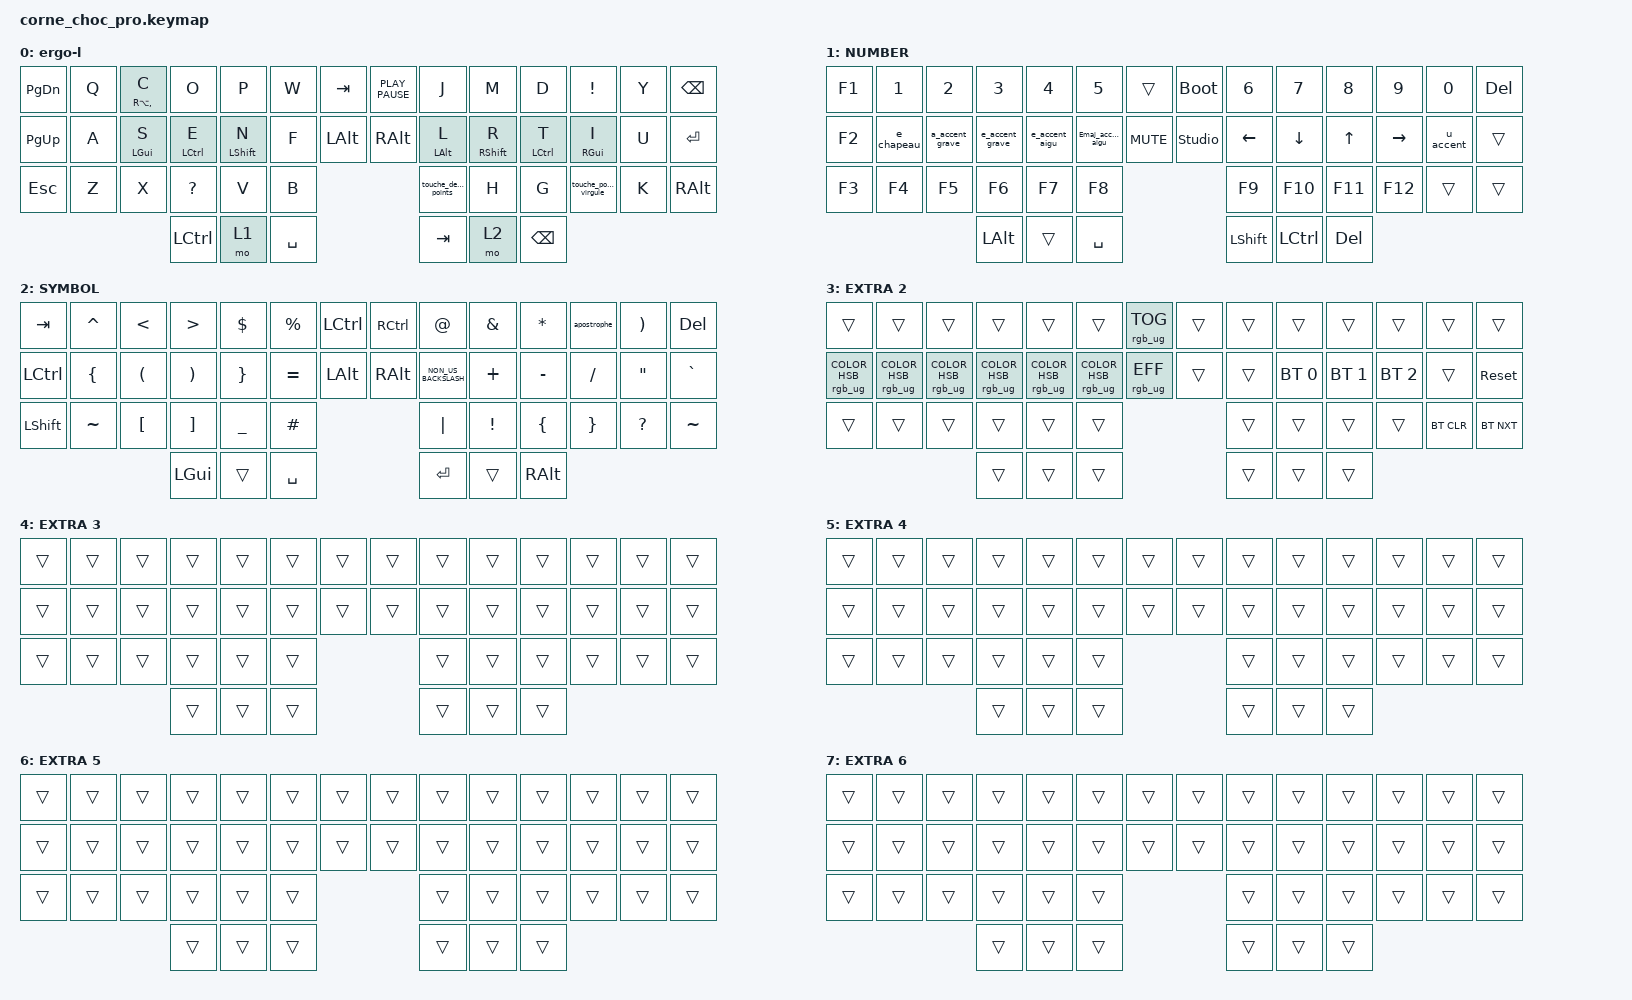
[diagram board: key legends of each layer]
/*
 * Copyright (c) 2020 The ZMK Contributors
 *
 * SPDX-License-Identifier: MIT
 */

#include <behaviors.dtsi>
#include <dt-bindings/zmk/bt.h>
#include <dt-bindings/zmk/keys.h>
#include <dt-bindings/zmk/rgb.h>
#include "keys_fr.h"

/ {
    chosen { zmk,physical-layout = &default_layout; };
};

/ {
    behaviors {
        touche_question: touche_question {
            compatible = "zmk,behavior-mod-morph";
            label = "TOUCHE_QUESTION";
            bindings = <&kp KP_MINUS>, <&kp QUESTION>;

            #binding-cells = <0>;
            mods = <(MOD_LSFT|MOD_RSFT)>;
        };

        touche_deux_points: touche_deux_points {
            compatible = "zmk,behavior-mod-morph";
            label = "TOUCHE_DEUX_POINTS";
            bindings = <&kp DOT>, <&kp COLON>;

            #binding-cells = <0>;
            mods = <(MOD_LSFT|MOD_RSFT)>;
        };

        touche_point_virgule: touche_point_virgule {
            compatible = "zmk,behavior-mod-morph";
            label = "TOUCHE_POINT_VIRGULE";
            bindings = <&kp COMMA>, <&kp SEMICOLON>;

            #binding-cells = <0>;
            mods = <(MOD_LSFT|MOD_RSFT)>;
        };

        c_cedille: c_cedille {
            compatible = "zmk,behavior-hold-tap";
            label = "C_CEDILLE";
            bindings = <&kp>, <&kp>;

            #binding-cells = <2>;
            tapping-term-ms = <230>;
            flavor = "tap-preferred";
        };

        HMShiftR: HMShiftR {
            compatible = "zmk,behavior-hold-tap";
            label = "HMSHIFTR";
            bindings = <&kp>, <&kp>;

            #binding-cells = <2>;
            tapping-term-ms = <225>;
            hold-trigger-key-positions = <0 15 16 17 18 19 29 30 31 32 33 40 41 5 6 19 20 33 41 42 0 1 2 3 4 14 15 16 17 18 28 29 30 31 32>;
            hold-trigger-on-release;
        };

        HML: HML {
            compatible = "zmk,behavior-hold-tap";
            label = "HML";
            bindings = <&kp>, <&kp>;

            #binding-cells = <2>;
            tapping-term-ms = <400>;
            hold-trigger-on-release;
            hold-trigger-key-positions = <13 27 26 24 23 22 21 34 35 36 37 38 39 25 11 12 10 9 8 7 43 44 45>;
            flavor = "tap-preferred";
        };

        defile_fenetre_bas: defile_fenetre_bas {
            compatible = "zmk,behavior-hold-tap";
            label = "DEFILE_FENETRE_BAS";
            bindings = <&kp>, <&defile_bas>;

            #binding-cells = <2>;
            tapping-term-ms = <350>;
            hold-while-undecided;
            retro-tap;
            hold-trigger-key-positions = <0 1 5 6 7 8 12 13 14 15 16 17 18 19 20 21 22 23 24 25 26 27 28 29 30 31 32 33 34 35 36 37 38 39 11 10 9 4 3 2>;
            hold-trigger-on-release;
        };

        defile_fenetre_haut: defile_fenetre_haut {
            compatible = "zmk,behavior-hold-tap";
            label = "DEFILE_FENETRE_HAUT";
            bindings = <&mo>, <&defile_haut>;

            #binding-cells = <2>;
            tapping-term-ms = <350>;
            hold-while-undecided;
            retro-tap;
            hold-trigger-key-positions = <0 1 5 6 7 8 12 13 14 15 16 17 18 19 20 21 22 23 24 25 26 27 28 29 30 31 32 33 34 35 36 37 38 39 11 10 9 4 3 2>;
            hold-trigger-on-release;
        };

        HMR: HMR {
            compatible = "zmk,behavior-hold-tap";
            label = "HMR";
            bindings = <&kp>, <&kp>;

            #binding-cells = <2>;
            tapping-term-ms = <400>;
            hold-trigger-key-positions = <0 15 16 17 18 19 29 30 31 32 33 40 41 5 6 19 20 33 41 42 0 1 2 3 4 14 15 16 17 18 28 29 30 31 32>;
            hold-trigger-on-release;
            flavor = "tap-preferred";
        };

        HMShiftL: HMShiftL {
            compatible = "zmk,behavior-hold-tap";
            label = "HMSHIFTL";
            bindings = <&kp>, <&kp>;

            #binding-cells = <2>;
            tapping-term-ms = <225>;
            hold-trigger-on-release;
            hold-trigger-key-positions = <7 8 9 10 11 12 13 21 22 23 24 25 26 27 34 35 36 37 38 39 43 44 45>;
        };

        e_aigu_maj: e_aigu_maj {
            compatible = "zmk,behavior-mod-morph";
            label = "E_AIGU_MAJ";
            bindings = <&e_accent_aigu>, <&Emaj_accent_aigu>;

            #binding-cells = <0>;
            mods = <(MOD_LSFT|MOD_RSFT)>;
        };
    };

    macros {
        defile_bas: defile_bas {
            compatible = "zmk,behavior-macro";
            #binding-cells = <0>;
            bindings = <&kp LEFT_GUI &kp DOWN_ARROW>;
            label = "DEFILE_BAS";
        };

        defile_haut: defile_haut {
            compatible = "zmk,behavior-macro";
            #binding-cells = <0>;
            bindings = <&kp LEFT_GUI &kp DOWN_ARROW>;
            label = "DEFILE_HAUT";
        };

        e_accent_aigu: e_accent_aigu {
            compatible = "zmk,behavior-macro";
            #binding-cells = <0>;
            bindings =
                <&macro_wait_time 15>,
                <&macro_tap_time 15>,
                <&macro_press>,
                <&kp LCTRL &kp LEFT_SHIFT>,
                <&macro_tap>,
                <&kp U>,
                <&macro_release>,
                <&kp LCTRL &kp LSHFT>,
                <&macro_tap>,
                <&kp E &kp N9 &kp SPACE>;

            label = "E_ACCENT_AIGU";
        };

        e_accent_grave: e_accent_grave {
            compatible = "zmk,behavior-macro";
            #binding-cells = <0>;
            bindings =
                <&macro_wait_time 15>,
                <&macro_tap_time 15>,
                <&macro_press>,
                <&kp LCTRL &kp LEFT_SHIFT>,
                <&macro_tap>,
                <&kp U>,
                <&macro_release>,
                <&kp LCTRL &kp LSHFT>,
                <&macro_tap>,
                <&kp E &kp N8 &kp SPACE>;

            label = "E_ACCENT_GRAVE";
        };

        a_accent_grave: a_accent_grave {
            compatible = "zmk,behavior-macro";
            #binding-cells = <0>;
            bindings =
                <&macro_wait_time 0>,
                <&macro_tap_time 0>,
                <&macro_press>,
                <&kp LCTRL &kp LEFT_SHIFT>,
                <&macro_tap>,
                <&kp U>,
                <&macro_release>,
                <&kp LCTRL &kp LSHFT>,
                <&macro_tap>,
                <&kp E &kp N0 &kp SPACE>;

            label = "A_ACCENT_GRAVE";
        };

        Emaj_accent_aigu: Emaj_accent_aigu {
            compatible = "zmk,behavior-macro";
            #binding-cells = <0>;
            bindings =
                <&macro_wait_time 15>,
                <&macro_tap_time 15>,
                <&macro_press>,
                <&kp LCTRL &kp LEFT_SHIFT>,
                <&macro_tap>,
                <&kp U>,
                <&macro_release>,
                <&kp LCTRL &kp LSHFT>,
                <&macro_tap>,
                <&kp C &kp N9 &kp SPACE>;

            label = "EMAJ_ACCENT_AIGU";
        };

        e_chapeau: e_chapeau {
            compatible = "zmk,behavior-macro";
            #binding-cells = <0>;
            bindings =
                <&macro_wait_time 15>,
                <&macro_tap_time 15>,
                <&macro_press>,
                <&kp LCTRL &kp LEFT_SHIFT>,
                <&macro_tap>,
                <&kp U>,
                <&macro_release>,
                <&kp LCTRL &kp LSHFT>,
                <&macro_tap>,
                <&kp E &kp A &kp SPACE>;

            label = "E_CHAPEAU";
        };

        u_accent: u_accent {
            compatible = "zmk,behavior-macro";
            #binding-cells = <0>;
            bindings =
                <&macro_wait_time 15>,
                <&macro_tap_time 15>,
                <&macro_press>,
                <&kp LCTRL &kp LEFT_SHIFT>,
                <&macro_tap>,
                <&kp U>,
                <&macro_release>,
                <&kp LCTRL &kp LSHFT>,
                <&macro_tap>,
                <&kp F &kp N9 &kp SPACE>;

            label = "U_ACCENT";
        };

        apostrophe: apostrophe {
            compatible = "zmk,behavior-macro";
            #binding-cells = <0>;
            bindings =
                <&macro_wait_time 15>,
                <&macro_tap_time 15>,
                <&macro_press>,
                <&kp LCTRL &kp LEFT_SHIFT>,
                <&macro_tap>,
                <&kp U>,
                <&macro_release>,
                <&kp LCTRL &kp LSHFT>,
                <&macro_tap>,
                <&kp B &kp NUMBER_4 &kp SPACE>;

            label = "APOSTROPHE";
        };
    };

    combos {
        compatible = "zmk,combos";

        layer3 {
            bindings = <&mo 3>;
            key-positions = <41 43>;
        };
    };

    keymap {
        compatible = "zmk,keymap";

        default_layer {
            display-name = "ergo-l";

            // --------------------------------------------------------------------------------
            // |  TAB |  Q  |  W  |  E  |  R  |  T  |  MUTE |  PP   |  Y  |  U   |  I  |  O  |  P  | BSPC |
            // | CTRL |  A  |  S  |  D  |  F  |  G  |  LALT |  RALT |  H  |  J   |  K  |  L  |  ;  |  '   |
            // | SHFT |  Z  |  X  |  C  |  V  |  B  |               |  N  |  M   |  ,  |  .  |  /  | ESC  |
            //                    | GUI | LWR | SPC |               | ENT | RSE  | ALT |

            bindings = <
&kp PAGE_DOWN  &kp Q  &c_cedille RA(COMMA) C  &kp O         &kp P              &kp W      &kp TAB   &kp K_PLAY_PAUSE  &kp J                &kp M               &kp D          &kp EXCL               &kp Y  &kp BSPC
&kp PAGE_UP    &kp A  &HML LEFT_GUI S         &HML LCTRL E  &HMShiftL LSHFT N  &kp F      &kp LALT  &kp RALT          &HMR LEFT_ALT L      &HMShiftR RSHIFT R  &HMR LCTRL T   &HMR RGUI I            &kp U  &kp ENTER
&kp ESC        &kp Z  &kp X                   &kp QUESTION  &kp V              &kp B                                  &touche_deux_points  &kp H               &kp G          &touche_point_virgule  &kp K  &kp RIGHT_ALT
                                              &kp LCTRL     &mo 1              &kp SPACE                              &kp TAB              &mo 2               &kp BACKSPACE
            >;
        };

        lower_layer {
            display-name = "NUMBER";

            // -----------------------------------------------------------------------------------------
            // |  TAB |  1  |  2  |  3  |  4  |  5    |  LCTRL | RCTRL |  6  |  7  |  8  |  9  |  0  | BSPC |
            // | CTRL | BT1 | BT2 | BT3 | BT4 | BT5   |  LALT  | RALT  | LFT | DWN |  UP | RGT |     |      |
            // | SHFT | BTCR| RGB | RST | BOOT| Unlock|        |       |     |     |     |     |     |      |
            //                    | GUI |     | SPC   |        | ENT   |     | ALT |

            bindings = <
&kp F1  &kp N1      &kp N2           &kp N3           &kp N4          &kp N5             &trans      &bootloader     &kp N6     &kp N7     &kp N8      &kp N9     &kp N0     &kp DELETE
&kp F2  &e_chapeau  &a_accent_grave  &e_accent_grave  &e_accent_aigu  &Emaj_accent_aigu  &kp K_MUTE  &studio_unlock  &kp LEFT   &kp DOWN   &kp UP      &kp RIGHT  &u_accent  &trans
&kp F3  &kp F4      &kp F5           &kp F6           &kp F7          &kp F8                                         &kp F9     &kp F10    &kp F11     &kp F12    &trans     &trans
                                     &kp LEFT_ALT     &trans          &kp SPACE                                      &kp LSHFT  &kp LCTRL  &kp DELETE
            >;
        };

        raise_layer {
            display-name = "SYMBOL";

            // -----------------------------------------------------------------------------------------
            // |  TAB |  !  |  @  |  #  |  $  |  %  | LCTRL | RCTRL |  ^  |  &  |  *  |  (  |  )  | BSPC |
            // | CTRL |     |     |     |     |     |  LALT | RALT  |  -  |  =  |  [  |  ]  |  \  |  `   |
            // | SHFT |     |     |     |     |     |               |  _  |  +  |  {  |  }  | "|" |  ~   |
            //                    | GUI |     | SPC |               | ENT |     | ALT |

            bindings = <
&kp TAB    &kp CARET       &kp LESS_THAN         &kp GREATER_THAN       &kp DLLR         &kp PRCNT  &kp LCTRL  &kp RCTRL  &kp AT_SIGN           &kp AMPS  &kp ASTRK  &apostrophe  &kp RPAR           &kp DELETE
&kp LCTRL  &kp LEFT_BRACE  &kp LEFT_PARENTHESIS  &kp RIGHT_PARENTHESIS  &kp RIGHT_BRACE  &kp EQUAL  &kp LALT   &kp RALT   &kp NON_US_BACKSLASH  &kp PLUS  &kp MINUS  &kp SLASH    &kp DOUBLE_QUOTES  &kp GRAVE
&kp LSHFT  &kp TILDE       &kp LEFT_BRACKET      &kp RIGHT_BRACKET      &kp UNDERSCORE   &kp POUND                        &kp PIPE              &kp EXCL  &kp LBRC   &kp RBRC     &kp QMARK          &kp TILDE
                                                 &kp LGUI               &trans           &kp SPACE                        &kp RET               &trans    &kp RALT
            >;
        };

        extra_layer_2 {
            display-name = "EXTRA 2";
            bindings = <
&trans                          &trans                            &trans                            &trans                           &trans                            &trans                             &rgb_ug RGB_TOG  &trans  &trans  &trans        &trans        &trans        &trans      &trans
&rgb_ug RGB_COLOR_HSB(0,0,100)  &rgb_ug RGB_COLOR_HSB(70,100,50)  &rgb_ug RGB_COLOR_HSB(112,99,50)  &rgb_ug RGB_COLOR_HSB(0,100,50)  &rgb_ug RGB_COLOR_HSB(189,97,50)  &rgb_ug RGB_COLOR_HSB(292,100,50)  &rgb_ug RGB_EFF  &trans  &trans  &bt BT_SEL 0  &bt BT_SEL 1  &bt BT_SEL 2  &trans      &sys_reset
&trans                          &trans                            &trans                            &trans                           &trans                            &trans                                                      &trans  &trans        &trans        &trans        &bt BT_CLR  &bt BT_NXT
                                                                                                    &trans                           &trans                            &trans                                                      &trans  &trans        &trans
            >;
        };

        extra_layer_3 {
            display-name = "EXTRA 3";
            bindings = <
&trans  &trans  &trans  &trans  &trans  &trans  &trans  &trans  &trans  &trans  &trans  &trans  &trans  &trans
&trans  &trans  &trans  &trans  &trans  &trans  &trans  &trans  &trans  &trans  &trans  &trans  &trans  &trans
&trans  &trans  &trans  &trans  &trans  &trans                  &trans  &trans  &trans  &trans  &trans  &trans
                        &trans  &trans  &trans                  &trans  &trans  &trans
            >;
        };

        extra_layer_4 {
            display-name = "EXTRA 4";
            bindings = <
&trans  &trans  &trans  &trans  &trans  &trans  &trans  &trans  &trans  &trans  &trans  &trans  &trans  &trans
&trans  &trans  &trans  &trans  &trans  &trans  &trans  &trans  &trans  &trans  &trans  &trans  &trans  &trans
&trans  &trans  &trans  &trans  &trans  &trans                  &trans  &trans  &trans  &trans  &trans  &trans
                        &trans  &trans  &trans                  &trans  &trans  &trans
            >;
        };

        extra_layer_5 {
            display-name = "EXTRA 5";
            bindings = <
&trans  &trans  &trans  &trans  &trans  &trans  &trans  &trans  &trans  &trans  &trans  &trans  &trans  &trans
&trans  &trans  &trans  &trans  &trans  &trans  &trans  &trans  &trans  &trans  &trans  &trans  &trans  &trans
&trans  &trans  &trans  &trans  &trans  &trans                  &trans  &trans  &trans  &trans  &trans  &trans
                        &trans  &trans  &trans                  &trans  &trans  &trans
            >;
        };

        extra_layer_6 {
            display-name = "EXTRA 6";
            bindings = <
&trans  &trans  &trans  &trans  &trans  &trans  &trans  &trans  &trans  &trans  &trans  &trans  &trans  &trans
&trans  &trans  &trans  &trans  &trans  &trans  &trans  &trans  &trans  &trans  &trans  &trans  &trans  &trans
&trans  &trans  &trans  &trans  &trans  &trans                  &trans  &trans  &trans  &trans  &trans  &trans
                        &trans  &trans  &trans                  &trans  &trans  &trans
            >;
        };
    };
};
